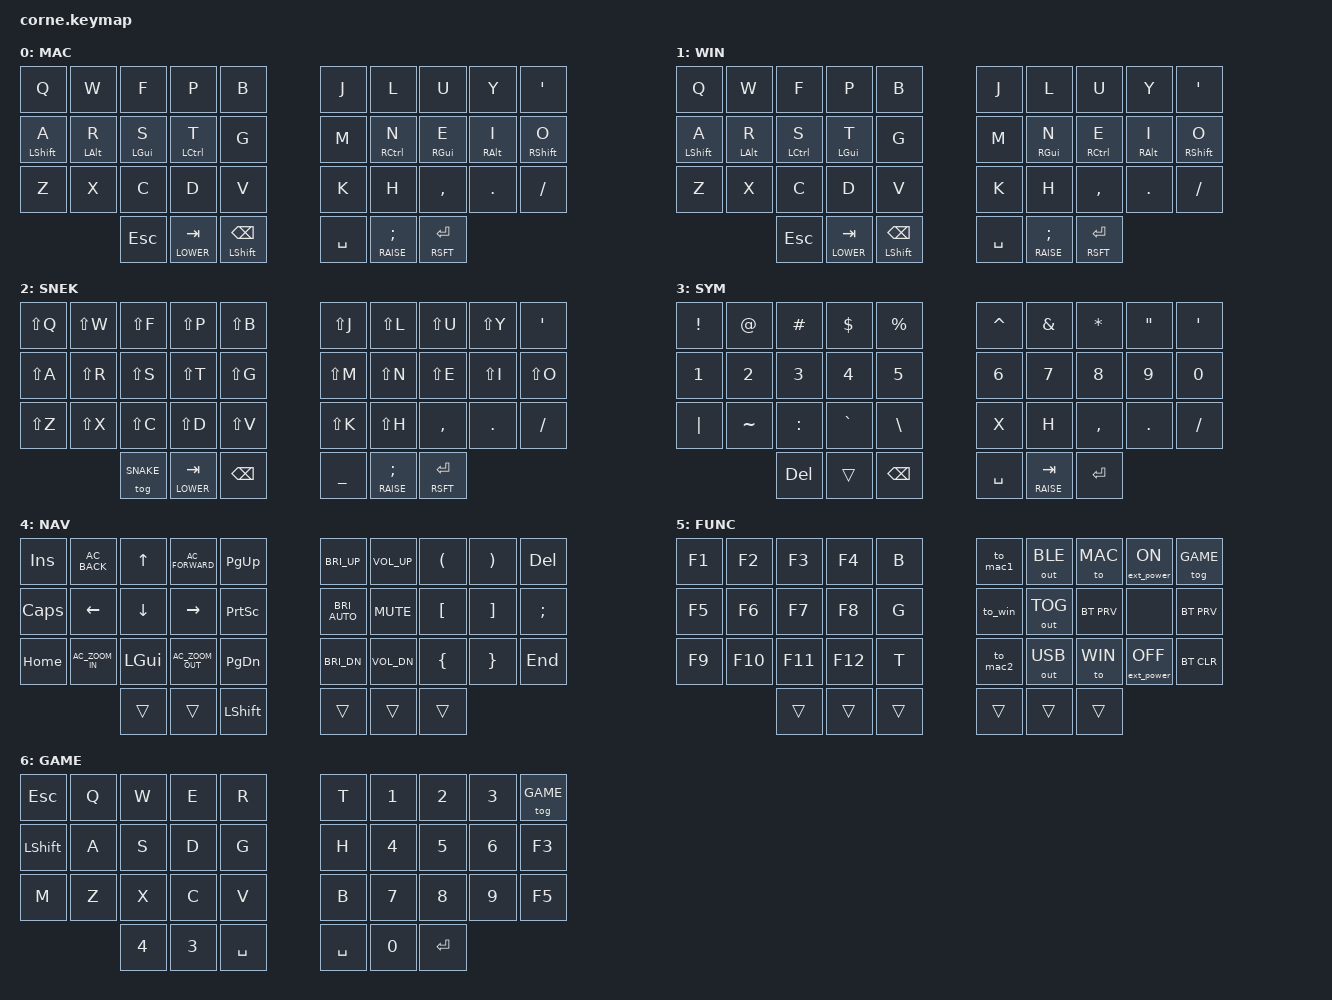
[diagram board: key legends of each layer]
/*
 * Copyright (c) 2020 The ZMK Contributors
 *
 * SPDX-License-Identifier: MIT
 */

#include <behaviors.dtsi>
#include <dt-bindings/zmk/keys.h>
#include <dt-bindings/zmk/bt.h>
#include <dt-bindings/zmk/outputs.h>
#include <dt-bindings/zmk/ext_power.h>

#define COMBO_TIMEOUT 60
#define FAST_COMBO_TIMEOUT 45
// Cleaning up long code segments
#define COMBO(NAME, KEYS, MAPPING, LAYERS, DELAY) combo_ ## NAME { \
            timeout-ms = <DELAY>; \
            key-positions = <KEYS>; \
            bindings = <MAPPING>; \
            layers = <LAYERS>; \
        };

#define MOD_MORPH(NAME, KEY1, KEY2, MODS) NAME: NAME { \
            compatible = "zmk,behavior-mod-morph"; \
            label = # NAME; \
            #binding-cells = <0>; \
            bindings = <KEY1>, <KEY2>; \
            mods = MODS; \
        };
#define MM_REPEAT(NAME, KEY) NAME: NAME { \
            compatible = "zmk,behavior-mod-morph"; \
            label = # NAME; \
            #binding-cells = <0>; \
            bindings = <&kp KEY>, <&repeat_key KEY>; \
            mods = LRSFT; \
        };

#define LRSFT <(MOD_LSFT|MOD_RSFT)>

#define MACRO(NAME, ...) ZMK_MACRO(NAME, \
  wait-ms = <5>; \
  tap-ms = <5>; \
  bindings = __VA_ARGS__;)
#define PRESS(KEY) <&macro_press KEY>
#define RELEASE(KEY) <&macro_release KEY>
#define TAP(KEY) <&macro_tap KEY>
#define CAPS_LAYER(STR_NAME, SPACE_KEY, LAYER_NUM) layer_ ## LAYER_NUM { \
      label = STR_NAME;\
      bindings = <\
        &kp Q &kp W &kp F &kp P &kp B  &kp J &kp L &kp U &kp Y &kp SQT     \
        &kp A &kp R &kp S &kp T &kp G  &kp M &kp N &kp E &kp I &kp O \
        &kp Z &kp X &kp C &kp D &kp V  &kp K &kp H &kp COMMA  &kp DOT  &kp FSLH    \
        &tog LAYER_NUM &lt LOWER TAB &mt LSHFT BKSP SPACE_KEY &lt RAISE SEMI &mt RSFT RET\
      >;\
    };
// layers
#define MAC   0
#define WIN   1
#define SNAKE 2
#define CAMEL 3
#define PATH  4
#define KEBAB 5
#define LOWER 6
#define RAISE 7
#define FUNCT 8
#define GAME  9

&mt {
  compatible = "zmk,behavior-hold-tap";
  tapping-term-ms = <100>;
  quick_tap_ms = <200>;
  flavor = "balanced";
};

&lt {
  compatible = "zmk,behavior-hold-tap";
  tapping-term-ms = <110>;
  quick_tap_ms = <200>;
  flavor = "balanced";
};

/ {
  chosen {
    zmk,matrix_transform = &five_column_transform;
  };
};
/ {
    conditional_layers {
        compatible = "zmk,conditional-layers";
        tri_layer {
            if-layers = <LOWER RAISE>;
            then-layer = <FUNCT>;
        };
    };
    behaviors {
      // NORMAL MOD MORPH
      MOD_MORPH(end_snr,      &kp END,    &snap_right, LRSFT)
      MOD_MORPH(home_snl,     &kp HOME,   &snap_left, LRSFT)
      MOD_MORPH(excl_neq,     &kp EXCL,   &neq, LRSFT)
      MOD_MORPH(gte_shr,      &gte,       &gt_d, LRSFT)
      MOD_MORPH(lte_shl,      &lte,       &lt_d, LRSFT)
      MOD_MORPH(peq_meq,      &peq,       &neq, LRSFT)
      MOD_MORPH(up_hash,      &kp HASH,   &kp UP, LRSFT)
      MOD_MORPH(rptr_rarr,    &rptr,      &rarr, LRSFT)
      MOD_MORPH(snake_camel,  &tog SNAKE, &tog CAMEL, LRSFT)
      MOD_MORPH(kebab_path,   &tog KEBAB, &tog PATH, LRSFT)
      // DOUBLE MOD MORPH KEYS
      MM_REPEAT(minus_d,  MINUS)
      MM_REPEAT(plus_d,   PLUS)
      MM_REPEAT(col_d,    COLON)
      MM_REPEAT(eq_d,     EQUAL)
      MM_REPEAT(pipe_d,   PIPE)
      MM_REPEAT(and_d,    AMPS)
      MM_REPEAT(perc_d,   PRCNT)
      MM_REPEAT(lpar_d,   LPAR)
      MM_REPEAT(rpar_d,   RPAR)
      MM_REPEAT(lt_d,     LT)
      MM_REPEAT(gt_d,     GT)
      MM_REPEAT(under_d,  UNDER)
      MM_REPEAT(star_d,   STAR)
      MM_REPEAT(quote_d,  DQT)
      MM_REPEAT(caret_d,  CARET)
      // HOME ROW MODS
      hl: homerow_mods_left {
        compatible = "zmk,behavior-hold-tap";
        label = "HOMEROW_MODS_LEFT";
        #binding-cells = <2>;
        flavor = "balanced";
        tapping-term-ms = <150>;
        quick-tap-ms = <125>;
        global-quick-tap;
        bindings = <&kp>, <&kp>;
      };
      hr: homerow_mods_right {
        compatible = "zmk,behavior-hold-tap";
        label = "HOMEROW_MODS_RIGHT";
        #binding-cells = <2>;
        flavor = "tap-preferred";
        tapping-term-ms = <200>;
        quick-tap-ms = <125>;
        require-prior-idle-ms = <200>;
        global-quick-tap;
        bindings = <&kp>, <&kp>;
      };
    };
};
/ {
    macros {
      MACRO(snap_left,
        RELEASE(&kp LSHFT),
        RELEASE(&kp RSHFT),
        PRESS(&kp LALT),
        PRESS(&kp LGUI),
        TAP(&kp LEFT),
        RELEASE(&kp LALT),
        RELEASE(&kp LGUI)
      )
      MACRO(snap_right,
        RELEASE(&kp LSHFT),
        RELEASE(&kp RSHFT),
        PRESS(&kp LALT),
        PRESS(&kp LGUI),
        TAP(&kp RIGHT),
        RELEASE(&kp LALT),
        RELEASE(&kp LGUI)
      )
      MACRO(desk_left,
        RELEASE(&kp LSHFT),
        RELEASE(&kp RSHFT),
        PRESS(&kp LCTRL),
        TAP(&kp LEFT),
        RELEASE(&kp LCTRL)  
      )
      MACRO(desk_right,
        RELEASE(&kp LSHFT),
        RELEASE(&kp RSHFT),
        PRESS(&kp LCTRL),
        TAP(&kp RIGHT),
        RELEASE(&kp LCTRL) 
      )
      MACRO(lte,
        TAP(&kp LT),
        TAP(&kp EQUAL)
      )
      MACRO(rptr,
        RELEASE(&kp LSFT),
        TAP(&kp MINUS),
        TAP(&kp GT)
      )
      MACRO(gte,
        TAP(&kp GT),
        TAP(&kp EQUAL)
      )
      MACRO(neq,
        RELEASE(&kp LSHFT),
        RELEASE(&kp RSHFT),
        TAP(&kp EXCL),
        TAP(&kp EQUAL)
      )
      MACRO(peq,
        TAP(&kp PLUS),
        TAP(&kp EQUAL)
      )
      MACRO(meq,
        RELEASE(&kp LSHFT),
        RELEASE(&kp RSHFT),
        TAP(&kp MINUS),
        TAP(&kp EQUAL)
      )
      MACRO(ellipses, 
        TAP(&kp DOT),
        TAP(&kp DOT),
        TAP(&kp DOT)
      )
      MACRO(rarr,
        RELEASE(&kp LSFT),
        RELEASE(&kp RSFT),
        TAP(&kp EQUAL),
        TAP(&kp GT)
      )
      // Device switching macros
      MACRO(to_mac1,
        TAP(&to MAC),
        TAP(&bt BT_SEL 0)
      )
      MACRO(to_win,
        TAP(&to WIN),
        TAP(&bt BT_SEL 1)
      )
      MACRO(to_mac2,
        TAP(&to MAC),
        TAP(&bt BT_SEL 2)
      )
      repeat_key: repeat_key {
            label = "repeat-key";
            compatible = "zmk,behavior-macro-one-param";
            #binding-cells = <1>;
            bindings = 
              RELEASE(&kp LSFT),
              <&macro_param_1to1>,
              TAP(&kp MACRO_PLACEHOLDER),
              <&macro_param_1to1>,
              TAP(&kp MACRO_PLACEHOLDER);
        };
    };
};
/ {
    combos {
        compatible = "zmk,combos";
        // GENERAL KEYS
        COMBO(tilde,        0 1,    &kp TILDE,    MAC WIN SNAKE CAMEL PATH KEBAB LOWER, COMBO_TIMEOUT)
        COMBO(grave,        8 9,    &kp GRAVE,    MAC WIN SNAKE CAMEL PATH KEBAB LOWER, COMBO_TIMEOUT) 
        COMBO(equal,        1 2,    &eq_d,        MAC WIN SNAKE CAMEL PATH KEBAB LOWER, COMBO_TIMEOUT)
        COMBO(plus_d,       2 3,    &plus_d,      MAC WIN SNAKE CAMEL PATH KEBAB LOWER, COMBO_TIMEOUT)
        COMBO(home_snl,     10 20,  &home_snl,    MAC WIN SNAKE CAMEL PATH KEBAB LOWER, COMBO_TIMEOUT)
        COMBO(end_snr,      19 29,  &end_snr,     MAC WIN SNAKE CAMEL PATH KEBAB LOWER, COMBO_TIMEOUT)
        COMBO(del,          31 32,  &kp DEL,      MAC WIN SNAKE CAMEL PATH KEBAB LOWER, COMBO_TIMEOUT)
        COMBO(colon,        33 34,  &col_d,       MAC WIN SNAKE CAMEL PATH KEBAB LOWER, COMBO_TIMEOUT)
        COMBO(star,         7 17,   &star_d,      MAC WIN SNAKE CAMEL PATH KEBAB LOWER, COMBO_TIMEOUT)
        COMBO(lbrc,         20 21,  &kp LBRC,     MAC WIN SNAKE CAMEL PATH KEBAB LOWER, COMBO_TIMEOUT)
        COMBO(rbkt,         26 27,  &kp RBKT,     MAC WIN SNAKE CAMEL PATH KEBAB LOWER, COMBO_TIMEOUT)
        COMBO(lpar,         21 22,  &kp LPAR,     MAC WIN SNAKE CAMEL PATH KEBAB LOWER, COMBO_TIMEOUT)
        COMBO(rpar,         27 28,  &kp RPAR,     MAC WIN SNAKE CAMEL PATH KEBAB LOWER, COMBO_TIMEOUT)
        COMBO(rptr,         16 26,  &rptr_rarr,   MAC WIN SNAKE CAMEL PATH KEBAB LOWER, COMBO_TIMEOUT)
        COMBO(lte,          17 27,  &lte_shl,     MAC WIN SNAKE CAMEL PATH KEBAB LOWER, COMBO_TIMEOUT)
        COMBO(gte,          18 28,  &gte_shr,     MAC WIN SNAKE CAMEL PATH KEBAB LOWER, COMBO_TIMEOUT)
        COMBO(left,         11 21,  &kp LEFT,     MAC WIN SNAKE CAMEL PATH KEBAB LOWER, COMBO_TIMEOUT)
        COMBO(up,           2 12,   &up_hash,     MAC WIN SNAKE CAMEL PATH KEBAB LOWER, COMBO_TIMEOUT)
        COMBO(down,         12 22,  &kp DOWN,     MAC WIN SNAKE CAMEL PATH KEBAB LOWER, COMBO_TIMEOUT)
        COMBO(right,        13 23,  &kp RIGHT,    MAC WIN SNAKE CAMEL PATH KEBAB LOWER, COMBO_TIMEOUT)
        COMBO(pipe,         3 13,   &pipe_d,      MAC WIN SNAKE CAMEL PATH KEBAB LOWER, COMBO_TIMEOUT)
        COMBO(bslh,         8 18,   &kp BSLH,     MAC WIN SNAKE CAMEL PATH KEBAB LOWER, COMBO_TIMEOUT)
        COMBO(excl,         0 10,   &excl_neq,    MAC WIN SNAKE CAMEL PATH KEBAB LOWER, COMBO_TIMEOUT)
        COMBO(at,           1 11,   &kp AT,       MAC WIN SNAKE CAMEL PATH KEBAB LOWER, COMBO_TIMEOUT)
        COMBO(amps,         6 16,   &and_d,       MAC WIN SNAKE CAMEL PATH KEBAB LOWER, COMBO_TIMEOUT)
        COMBO(perc,         4 14,   &perc_d,      MAC WIN SNAKE CAMEL PATH KEBAB LOWER, COMBO_TIMEOUT)
        COMBO(caret,        5 15,   &caret_d,     MAC WIN SNAKE CAMEL PATH KEBAB LOWER, COMBO_TIMEOUT)
        COMBO(quote,        9 19,   &quote_d,     MAC WIN SNAKE CAMEL PATH KEBAB LOWER, COMBO_TIMEOUT)
        // FAST
        COMBO(minus,        7 8,    &minus_d,     MAC WIN SNAKE CAMEL PATH KEBAB LOWER, FAST_COMBO_TIMEOUT) // lu
        COMBO(under,        6 7,    &under_d,     MAC WIN SNAKE CAMEL PATH KEBAB LOWER, FAST_COMBO_TIMEOUT) // uy
        COMBO(rbrc,         28 29,  &kp RBRC,     MAC WIN SNAKE CAMEL PATH KEBAB LOWER, FAST_COMBO_TIMEOUT) // ./
        COMBO(lbkt,         22 23,  &kp LBKT,     MAC WIN SNAKE CAMEL PATH KEBAB LOWER, FAST_COMBO_TIMEOUT) // cd
        // NO LOWER
        COMBO(snake_camel,  14 24,  &snake_camel, MAC WIN SNAKE CAMEL PATH KEBAB,       COMBO_TIMEOUT)
        COMBO(kebab_path,   15 25,  &kebab_path,  MAC WIN SNAKE CAMEL PATH KEBAB,       COMBO_TIMEOUT)
        // LOWER ONLY
        COMBO(b,            25 26,  &kp B,        LOWER,                                COMBO_TIMEOUT)
        // MAC ONLY
        COMBO(dt_right,     23 24,  &desk_right,  MAC,                                  COMBO_TIMEOUT)
        COMBO(dt_left,      25 26,  &desk_left,   MAC,                                  COMBO_TIMEOUT)
        // Triple combos  
        COMBO(plus_equal,   1 2 3,  &peq,         MAC WIN SNAKE CAMEL PATH KEBAB LOWER, COMBO_TIMEOUT)
        COMBO(minus_equal,  6 7 8,  &meq,         MAC WIN SNAKE CAMEL PATH KEBAB LOWER, COMBO_TIMEOUT)
        COMBO(ellipses,     26 27 28, &ellipses,  MAC WIN SNAKE CAMEL PATH KEBAB LOWER, COMBO_TIMEOUT)
    };
};
/ {
  keymap {
   compatible = "zmk,keymap";
    mac_layer {
      label = "MAC";
      // -----------------------------------------------------------------
      // |  Q  ~  W  =  F  +  P  |  B  |   |  J  |  L  -  U  _  Y  `  '  |
      // |  A  |  R  |  S  |  T  |  G  |   |  M  |  N  |  E  |  I  \  O  |
      // |  Z  {  X  (  C  [  D  |  V  |   |  K  |  H  ]  ,  )  .  }  /  |
      //   | ESC | LWR(TAB) | LSFT(BKSP) |  SPC  |  RSE(;)  | RET |
      bindings = <
        &kp Q       &kp W      &kp F      &kp P       &kp B  &kp J &kp L       &kp U      &kp Y      &kp SQT     
        &hl LSHFT A &hl LALT R &hl LGUI S &hl LCTRL T &kp G  &kp M &hr RCTRL N &hr RGUI E &hr RALT I &hr RSHFT O 
        &kp Z       &kp X      &kp C      &kp D       &kp V  &kp K &kp H       &kp COMMA  &kp DOT    &kp FSLH    
        &kp ESC &lt LOWER TAB &mt LSHFT BKSP &kp SPACE &lt RAISE SEMI &mt RSFT RET
      >;
    };
    
    win_layer {
      label = "WIN";
      // -----------------------------------------------------------------
      // |  Q  ~  W  =  F  +  P  |  B  |   |  J  |  L  -  U  _  Y  `  '  |
      // |  A  |  R  |  S  |  T  |  G  |   |  M  |  N  |  E  |  I  \  O  |
      // |  Z  {  X  (  C  [  D  |  V  |   |  K  |  H  ]  ,  )  .  }  /  |
      //   | ESC | LWR(TAB) | LSFT(BKSP) |  SPC  |  RSE(;)  | RET |
      bindings = <
        &kp Q       &kp W      &kp F       &kp P      &kp B  &kp J &kp L       &kp U       &kp Y      &kp SQT     
        &hl LSHFT A &hl LALT R &hl LCTRL S &hl LGUI T &kp G  &kp M &hr RGUI N  &hr RCTRL E &hr RALT I &hr RSHFT O 
        &kp Z       &kp X      &kp C       &kp D      &kp V  &kp K &kp H       &kp COMMA   &kp DOT    &kp FSLH    
        &kp ESC &lt LOWER TAB &mt LSHFT BKSP &kp SPACE &lt RAISE SEMI &mt RSFT RET
      >;
    };
    snake_layer {
      label = "SNEK";
      bindings = <
        &kp LS(Q) &kp LS(W) &kp LS(F) &kp LS(P) &kp LS(B)  &kp LS(J) &kp LS(L) &kp LS(U) &kp LS(Y) &kp SQT     
        &kp LS(A) &kp LS(R) &kp LS(S) &kp LS(T) &kp LS(G)  &kp LS(M) &kp LS(N) &kp LS(E) &kp LS(I) &kp LS(O) 
        &kp LS(Z) &kp LS(X) &kp LS(C) &kp LS(D) &kp LS(V)  &kp LS(K) &kp LS(H) &kp COMMA  &kp DOT  &kp FSLH    
        &tog SNAKE &lt LOWER TAB &kp BKSP &kp UNDER &lt RAISE SEMI &mt RSFT RET
      >;
    };
    CAPS_LAYER("CAML", &sk LSFT, CAMEL)
    CAPS_LAYER("PATH", &kp FSLH, PATH)
    CAPS_LAYER("KEB-", &kp MINUS, KEBAB)
    lower_layer {
      label = "SYM";
      // -----------------------------------------------------------------
      // |  !  |  @  |  #  |  $  |  %  |   |  %  |  &  |  *  |  "  |  '  |
      // |  1  |  2  |  3  |  4  |  5  |   |  6  |  7  |  8  |  9  |  0  |
      // |  |  |  ~  |  :  |  `  |  \  |   |  x  |  h  |  ,  |  .  |  /  |
      //      |  DEL  |  TRANS  |  LGUI  |  BKSP  | MOSPACE |  RET  |
      bindings = <
        &kp EXCL  &kp AT    &kp HASH  &kp DLLR  &kp PRCNT  &kp CARET &kp AMPS  &kp STAR  &kp DQT &kp SQT 
        &kp N1    &kp N2    &kp N3    &kp N4    &kp N5     &kp N6    &kp N7    &kp N8    &kp N9   &kp N0   
        &kp PIPE  &kp TILDE &kp COLON &kp GRAVE &kp BSLH   &kp X     &kp H     &kp COMMA &kp DOT  &kp FSLH 
        &kp DEL    &trans   &kp BKSP  &kp SPACE &lt RAISE TAB &kp RET
      >;
    };

    raise_layer {
      label = "NAV";
      // ------------------------------------------------------------------------
      // | INS  | BACK |  UP  |  FWD | PGUP |   | BRI+ |  VOL+ | (  |  )  | DEL |
      // | CAPS | LEFT | DOWN | RGHT | PRSC |   | AUTO |  MUTE | [  |  ]  |  ;  |
      // | HOME | Z IN | LGUI | ZOUT | PGDN |   | BRI- |  VOL- | {  |  }  | END |
      //                          |   |   | SHIFT |  |   |
      bindings = <
        &kp INS  &kp C_AC_BACK    &kp UP   &kp C_AC_FORWARD  &kp PG_UP &kp C_BRI_UP   &kp C_VOL_UP &kp LPAR &kp RPAR  &kp DEL  
        &kp CAPS &kp LEFT         &kp DOWN &kp RIGHT         &kp PSCRN &kp C_BRI_AUTO &kp C_MUTE   &kp LBKT &kp RBKT  &kp SEMI 
        &kp HOME &kp C_AC_ZOOM_IN &kp LGUI &kp C_AC_ZOOM_OUT &kp PG_DN &kp C_BRI_DN   &kp C_VOL_DN &kp LBRC &kp RBRC  &kp END  
        &trans   &trans           &kp LSHFT                  &trans &trans            &trans
      >;
    };

    funct_layer {
      label = "FUNC";
      // ------------------------------------------------------------------------
      // | F1 | F2  | F3  | F4  | B |   | BT1 | BLE     | MAC | EP ON |  LGAME  |
      // | F5 | F6  | F7  | F8  | G |   | BT2 | OUT TOG | BTP |  XXX  |   BTN   |
      // | F9 | F10 | F11 | F12 | T |   | BT3 | USB     | WIN | EPOFF | BLE_RST |
      //            | XXX | XXX | XXX | XXX | XXX | XXX |
      bindings = <
        &kp F1 &kp F2  &kp F3  &kp F4  &kp B &to_mac1 &out OUT_BLE &to MAC    &ext_power EP_ON  &tog GAME
        &kp F5 &kp F6  &kp F7  &kp F8  &kp G &to_win  &out OUT_TOG &bt BT_PRV &none             &bt BT_PRV      
        &kp F9 &kp F10 &kp F11 &kp F12 &kp T &to_mac2 &out OUT_USB &to WIN    &ext_power EP_OFF &bt BT_CLR     
        &trans &trans  &trans  &trans  &trans         &trans
      >;
    };  

    game_layer {
      label = "GAME";
      // ----------------------------------------------------
      // | ESC   | Q | W | E | R |   | T | 1 | 2 | 3 | GAME |
      // | LSHFT | A | S | D | G |   | H | 4 | 5 | 6 |  F3  |
      // | M     | Z | X | C | V |   | B | 7 | 8 | 9 |  F5  |
      //             | 4 | 3 | SPC | SPC | 0 | ENT |
      bindings = <
        &kp ESC   &kp Q &kp W &kp E &kp R &kp T &kp N1 &kp N2 &kp N3 &tog GAME
        &kp LSHFT &kp A &kp S &kp D &kp G &kp H &kp N4 &kp N5 &kp N6 &kp F3 
        &kp M     &kp Z &kp X &kp C &kp V &kp B &kp N7 &kp N8 &kp N9 &kp F5 
        &kp N4    &kp N3      &kp SPACE   &kp SPACE    &kp N0 &kp RET
      >;
    };
  };
};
